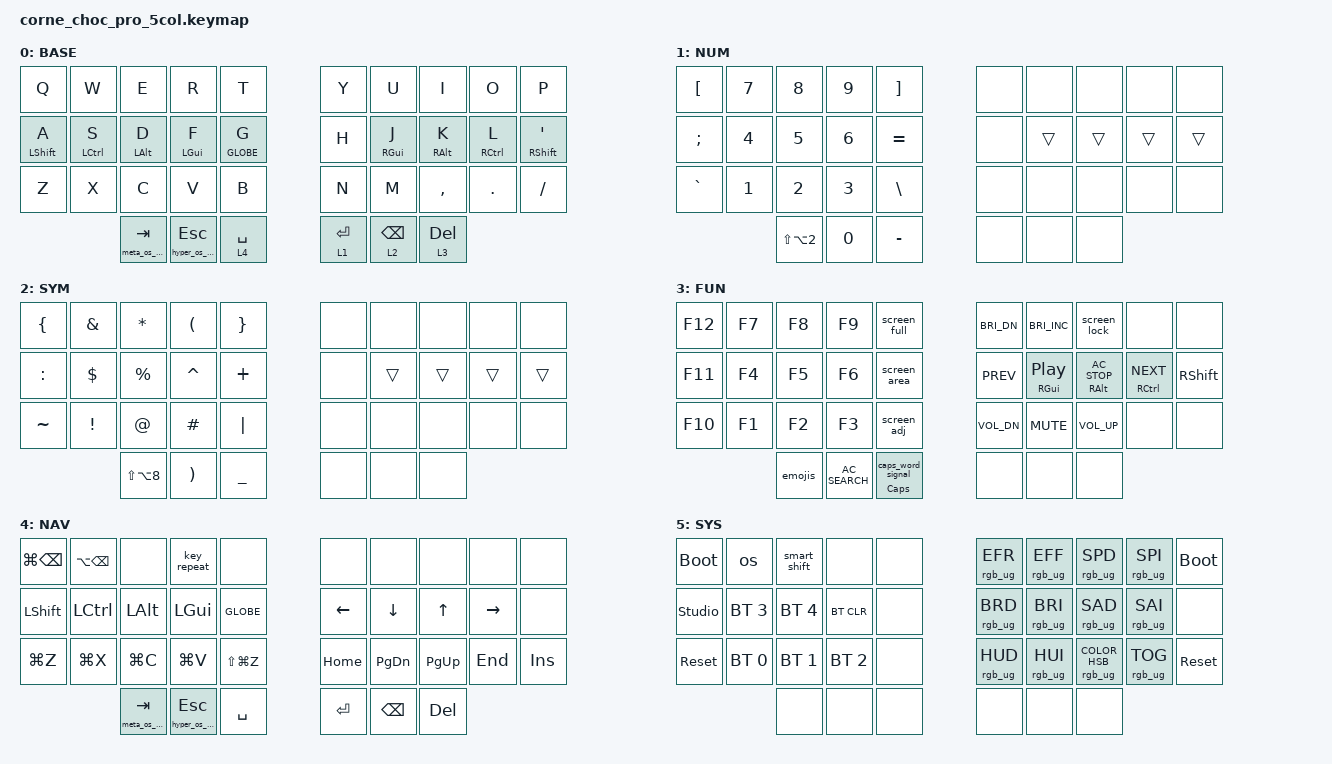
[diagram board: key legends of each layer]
/*
 * Copyright (c) 2020 The ZMK Contributors
 *
 * SPDX-License-Identifier: MIT
 */

#include <behaviors.dtsi>
#include <dt-bindings/zmk/bt.h>
#include <dt-bindings/zmk/keys.h>
#include <dt-bindings/zmk/rgb.h>

/ {
    chosen { zmk,physical-layout = &mini_layout; };

    behaviors {
        smart_shift: smart_shift {
            compatible = "zmk,behavior-smart-shift";
            #binding-cells = <0>;
            label = "Toggle Smart Shift";
        };

        // Assign &smart_shift to any key to toggle automatic capitalization.

        os: os {
            compatible = "zmk,behavior-os-mode";
            #binding-cells = <0>;
            label = "OS";
        };

        screen_full: screen_full {
            compatible = "zmk,behavior-screen-keycode";
            #binding-cells = <0>;
            mac-key = <LS(LG(N3))>;
            windows-key = <LG(PRINTSCREEN)>;
            label = "Screen Full";
        };

        screen_area: screen_area {
            compatible = "zmk,behavior-screen-keycode";
            #binding-cells = <0>;
            mac-key = <LS(LG(N4))>;
            windows-key = <LA(PRINTSCREEN)>;
            label = "Screen Area";
        };

        screen_adj: screen_adj {
            compatible = "zmk,behavior-screen-keycode";
            #binding-cells = <0>;
            mac-key = <LS(LG(N5))>;
            windows-key = <LS(LG(S))>;
            label = "Screen Adj";
        };

        meta_os_logic: meta_os_logic {
            compatible = "zmk,behavior-smart-modifier";
            #binding-cells = <1>;
            mac-key = <LG(LEFT_SHIFT)>;
            windows-key = <LC(LEFT_SHIFT)>;
            label = "META_OS_LOGIC";
        };

        hyper_os_logic: hyper_os_logic {
            compatible = "zmk,behavior-smart-modifier";
            #binding-cells = <1>;
            mac-key = <LA(LG(LEFT_CONTROL))>;
            windows-key = <LA(LEFT_CONTROL)>;
            label = "HYPER_OS_LOGIC";
        };

        meta: meta {
            compatible = "zmk,behavior-hold-tap";
            #binding-cells = <2>;
            bindings = <&meta_os_logic>, <&kp>;

            flavor = "hold-preferred";
            tapping-term-ms = <200>;
            label = "META";
        };

        hyper: hyper {
            compatible = "zmk,behavior-hold-tap";
            #binding-cells = <2>;
            bindings = <&hyper_os_logic>, <&kp>;

            flavor = "hold-preferred";
            tapping-term-ms = <200>;
            label = "HYPER";
        };

        emojis: emojis {
            compatible = "zmk,behavior-screen-keycode";
            #binding-cells = <0>;
            mac-key = <LC(LG(SPACE))>;
            windows-key = <LG(PERIOD)>;
            label = "EMOJIS";
        };

        screen_lock: screen_lock {
            compatible = "zmk,behavior-screen-keycode";
            #binding-cells = <0>;
            mac-key = <LC(LG(Q))>;
            windows-key = <LG(L)>;
            label = "SCREEN_LOCK";
        };

        thrm_left: thrm_left {
            compatible = "zmk,behavior-hold-tap";
            #binding-cells = <2>;
            flavor = "balanced";
            tapping-term-ms = <280>;
            quick-tap-ms = <175>;
            require-prior-idle-ms = <150>;
            hold-trigger-key-positions = <
                5  6  7  8  9
                15 16 17 18 19
                25 26 27 28 29
                30 31 32 33 34 35
            >;

            hold-trigger-on-release;
            bindings = <&kp>, <&kp>;

            label = "THRM_LEFT";
        };

        thrm_right: thrm_right {
            compatible = "zmk,behavior-hold-tap";
            #binding-cells = <2>;
            flavor = "balanced";
            tapping-term-ms = <280>;
            quick-tap-ms = <175>;
            require-prior-idle-ms = <150>;
            hold-trigger-key-positions = <
                0  1  2  3  4
                10 11 12 13 14
                20 21 22 23 24
                30 31 32 33 34 35
            >;

            hold-trigger-on-release;
            bindings = <&kp>, <&kp>;

            label = "THRM_RIGHT";
        };

        caps_logic: caps_logic {
            compatible = "zmk,behavior-hold-tap";
            label = "CAPS_LOGIC";
            bindings = <&kp>, <&caps_word_signal>;

            #binding-cells = <2>;
            tapping-term-ms = <200>;
        };

        hold_layer_lock: hold_layer_lock {
            compatible = "zmk,behavior-hold-tap";
            label = "Hold to lock current layer";
            bindings = <&lock_layer>, <&kp>;

            #binding-cells = <2>;
            tapping-term-ms = <200>;
            flavor = "tap-preferred";
        };

        lock_layer: lock_layer {
            compatible = "zmk,behavior-toggle-layer";
            label = "Locks stated layer on";
            #binding-cells = <1>;
            toggle-mode = "on";
        };

        caps_word_signal: caps_word_signal {
            compatible = "zmk,behavior-caps-word-signal";
            #binding-cells = <0>;
        };
    };

    combos {
        compatible = "zmk,combos";

        sys_layer {
            bindings = <&tog 5>;
            key-positions = <31 34>;
            layers = <0 5>;
        };

        nav_layer {
            bindings = <&tog 4>;
            key-positions = <32 33>;
        };
    };

    keymap {
        compatible = "zmk,keymap";

        BASE {
            display-name = "BASE";

            // Keebart's five_col_layout preserves the six thumb positions.

            bindings = <
  &kp Q                    &kp W               &kp E                  &kp R                     &kp T                   &kp Y         &kp U                    &kp I                    &kp O                &kp P
  &thrm_left LEFT_SHIFT A  &thrm_left LCTRL S  &thrm_left LEFT_ALT D  &thrm_left LEFT_GUI F     &thrm_left GLOBE G      &kp H         &thrm_right RIGHT_GUI J  &thrm_right RIGHT_ALT K  &thrm_right RCTRL L  &thrm_right RSHIFT APOS
  &kp Z                    &kp X               &kp C                  &kp V                     &kp B                   &kp N         &kp M                    &kp COMMA                &kp DOT              &kp FSLH
                                               &meta 0 TAB      &hyper 0 ESC         &lt 4 SPACE             &lt 1 RETURN  &lt 2 BACKSPACE          &lt 3 DELETE
            >;
        };

        NUMBER {
            bindings = <
  &kp LBKT   &kp N7  &kp N8          &kp N9  &kp RBKT       &none  &none   &none   &none   &none
  &kp SEMI   &kp N4  &kp N5          &kp N6  &kp EQUAL      &none  &trans  &trans  &trans  &trans
  &kp GRAVE  &kp N1  &kp N2          &kp N3  &kp BSLH       &none  &none   &none   &none   &none
                     &kp LS(LA(N2))  &kp N0  &kp MINUS      &none  &none   &none
            >;

            label = "NUM";
        };

        SYMBOL {
            bindings = <
  &kp LEFT_BRACE  &kp AMPERSAND    &kp ASTERISK    &kp LEFT_PARENTHESIS   &kp RIGHT_BRACE      &none  &none   &none   &none   &none
  &kp COLON       &kp DOLLAR       &kp PERCENT     &kp CARET              &kp PLUS             &none  &trans  &trans  &trans  &trans
  &kp TILDE       &kp EXCLAMATION  &kp AT_SIGN     &kp HASH               &kp PIPE             &none  &none   &none   &none   &none
                                   &kp LS(LA(N8))  &kp RIGHT_PARENTHESIS  &kp UNDERSCORE       &none  &none   &none
            >;

            label = "SYM";
        };

        FUNCTION {
            bindings = <
  &kp F12  &kp F7  &kp F8             &kp F9           &screen_full            &kp C_BRI_DN  &kp C_BRI_INC               &screen_lock                    &none                     &none
  &kp F11  &kp F4  &kp F5             &kp F6           &screen_area      &kp C_PREV    &thrm_right RIGHT_GUI C_PP  &thrm_right RIGHT_ALT C_AC_STOP  &thrm_right RCTRL C_NEXT  &kp RSHIFT
  &kp F10  &kp F1  &kp F2             &kp F3           &screen_adj            &kp C_VOL_DN  &kp C_MUTE                  &kp C_VOL_UP                     &none                     &none
                   &emojis  &kp C_AC_SEARCH  &caps_logic CAPS 0        &none         &none                       &none
            >;

            label = "FUN";
        };

        NAVIGATION {
            bindings = <
  &kp LG(BACKSPACE)  &kp LA(BACKSPACE)  &none         &key_repeat   &none              &none       &none          &none         &none      &none
  &kp LSHIFT     &kp LCTRL   &kp LEFT_ALT  &kp LEFT_GUI  &kp GLOBE          &kp LEFT    &kp DOWN       &kp UP_ARROW  &kp RIGHT  &none
  &kp LG(Z)      &kp LG(X)   &kp LG(C)     &kp LG(V)     &kp LS(LG(Z))      &kp HOME    &kp PG_DN      &kp PG_UP     &kp END    &kp INS
                             &meta 0 TAB  &hyper 0 ESC  &kp SPACE  &kp RETURN  &kp BACKSPACE  &kp DELETE
            >;

            label = "NAV";
        };

        SYSTEM {
            label = "SYS";
            bindings = <
  &bootloader     &os         &smart_shift  &none         &none      &rgb_ug RGB_EFR  &rgb_ug RGB_EFF  &rgb_ug RGB_SPD                 &rgb_ug RGB_SPI  &bootloader
  &studio_unlock  &bt BT_SEL 3  &bt BT_SEL 4  &bt BT_CLR    &none      &rgb_ug RGB_BRD  &rgb_ug RGB_BRI  &rgb_ug RGB_SAD                 &rgb_ug RGB_SAI  &none
  &sys_reset      &bt BT_SEL 0  &bt BT_SEL 1  &bt BT_SEL 2  &none      &rgb_ug RGB_HUD  &rgb_ug RGB_HUI  &rgb_ug RGB_COLOR_HSB(0,0,100)  &rgb_ug RGB_TOG  &sys_reset
                                &none         &none         &none      &none            &none            &none
            >;
        };
    };

    conditional_layers { compatible = "zmk,conditional-layers"; };
};
